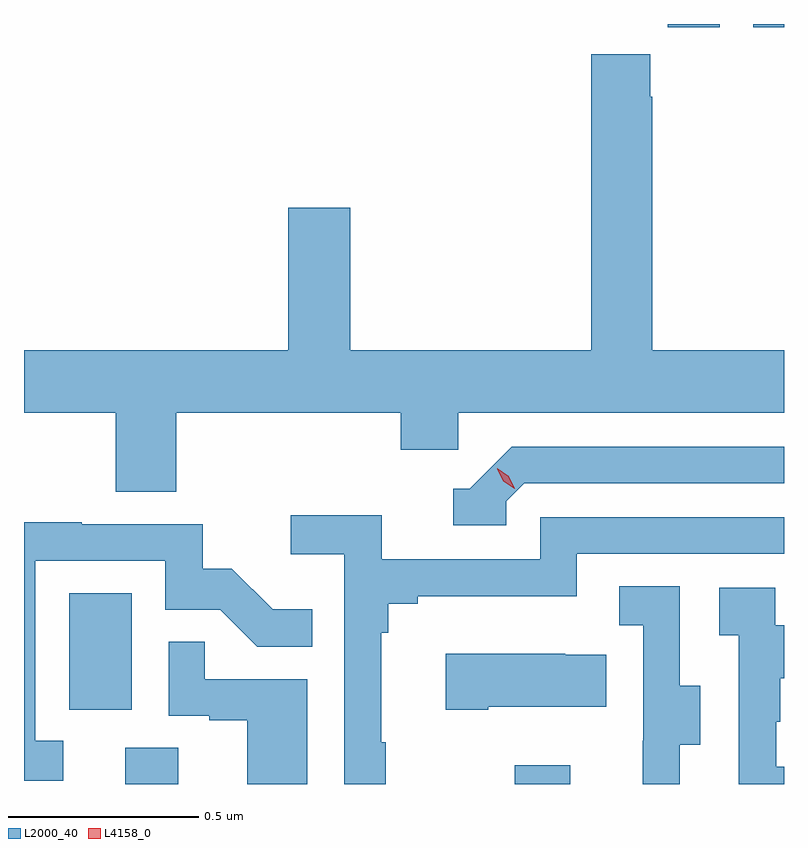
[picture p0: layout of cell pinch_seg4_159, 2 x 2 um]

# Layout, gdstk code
import gdstk
lib = gdstk.Library(unit=1e-6, precision=1e-09)
def R(c, l, rs):  # rectangles x0, y0, x1, y1
    for r in rs: c.add(gdstk.rectangle(r[:2], r[2:], *l))
def P(c, l, *ps):  # polygons
    for p in ps: c.add(gdstk.Polygon(p, *l))
L2000_40 = (2000, 40)
L4158_0 = (4158, 0)

pinch_seg4_159 = lib.new_cell('pinch_seg4_159')
R(pinch_seg4_159, L2000_40, [(1123.619,801.171,1123.759,801.266), (1124.644,801.171,1124.791,801.22), (1123.472,801.366,1123.636,801.673), (1125.047,803.163,1125.184,803.171), (1125.272,803.163,1125.353,803.171)])
P(pinch_seg4_159, L2000_40, [(1124.846,803.092),(1124.846,802.312),(1124.212,802.312),(1124.212,802.687),(1124.048,802.687),(1124.048,802.312),(1123.353,802.312),(1123.353,802.148),(1123.594,802.148),(1123.594,801.94),(1123.754,801.94),(1123.754,802.148),(1124.345,802.148),(1124.345,802.05),(1124.496,802.05),(1124.496,802.148),(1125.353,802.148),(1125.353,802.312),(1125.006,802.312),(1125.006,802.979),(1125.001,802.979),(1125.001,803.092)],
  [(1124.622,801.915),(1124.67,801.963),(1125.353,801.963),(1125.353,802.059),(1124.637,802.059),(1124.526,801.948),(1124.483,801.948),(1124.483,801.852),(1124.622,801.852)],
  [(1124.305,801.281),(1124.293,801.281),(1124.293,801.569),(1124.312,801.569),(1124.312,801.646),(1124.389,801.646),(1124.389,801.665),(1124.808,801.665),(1124.808,801.777),(1125.353,801.777),(1125.353,801.873),(1124.712,801.873),(1124.712,801.762),(1124.294,801.762),(1124.294,801.878),(1124.055,801.878),(1124.055,801.776),(1124.196,801.776),(1124.196,801.171),(1124.305,801.171)],
  [(1123.456,801.285),(1123.383,801.285),(1123.383,801.759),(1123.725,801.759),(1123.725,801.63),(1123.869,801.63),(1123.967,801.532),(1124.111,801.532),(1124.111,801.631),(1124.007,801.631),(1123.9,801.738),(1123.824,801.738),(1123.824,801.855),(1123.505,801.855),(1123.505,801.86),(1123.353,801.86),(1123.353,801.18),(1123.456,801.18)],
  [(1125.079,801.274),(1125.133,801.274),(1125.133,801.429),(1125.078,801.429),(1125.078,801.692),(1124.919,801.692),(1124.919,801.589),(1124.982,801.589),(1124.982,801.285),(1124.981,801.285),(1124.981,801.171),(1125.079,801.171)],
  [(1125.353,801.216),(1125.333,801.216),(1125.333,801.335),(1125.343,801.335),(1125.343,801.449),(1125.353,801.449),(1125.353,801.589),(1125.33,801.589),(1125.33,801.687),(1125.183,801.687),(1125.183,801.563),(1125.234,801.563),(1125.234,801.171),(1125.353,801.171)],
  [(1124.098,801.447),(1123.829,801.447),(1123.829,801.545),(1123.734,801.545),(1123.734,801.351),(1123.841,801.351),(1123.841,801.339),(1123.94,801.339),(1123.94,801.171),(1124.098,801.171)],
  [(1124.575,801.374),(1124.885,801.374),(1124.885,801.511),(1124.777,801.511),(1124.777,801.514),(1124.463,801.514),(1124.463,801.367),(1124.575,801.367)])
P(pinch_seg4_159, L4158_0, [(1124.645,801.948),(1124.614,801.968),(1124.599,802.001),(1124.599,802.002),(1124.599,802.002),(1124.629,801.981),(1124.645,801.948),(1124.645,801.948)])

lib.write_gds('pinch_seg4_159.gds')
